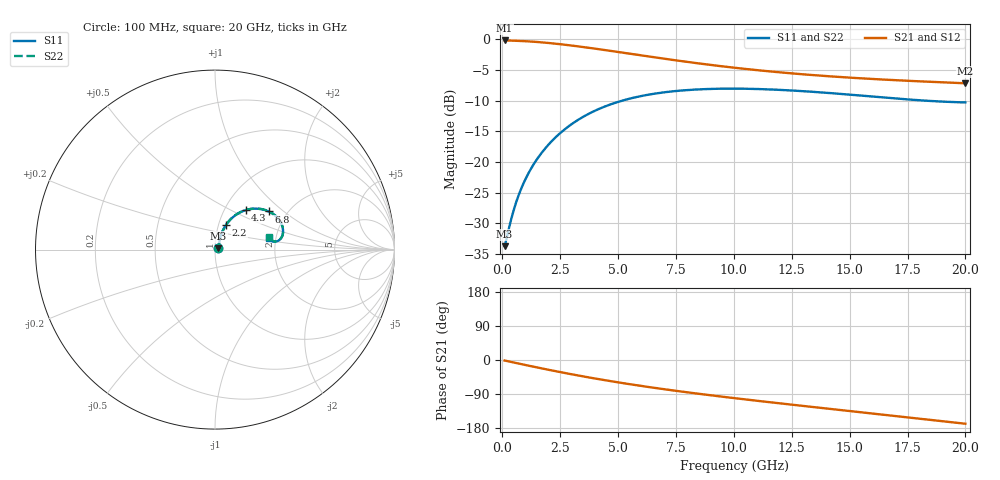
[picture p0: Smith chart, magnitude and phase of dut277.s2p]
! Touchstone file exported from HFSS 2024.1.0
!  File:  C:/UserFiles/LocalFiles/RDL_TSV_Batchsim/temp_RDL_TSV_277_1779463379.aedt
!  Generated:  11:38:42 PM May 22, 2026
!  Design:  RDL_TSV
!  Project:  temp_RDL_TSV_277_1779463379
!  Setup:  Setup1
!  Solution:  Sweep
! Variables:
!  dtsv = 5.56um
!  hbump = 3um
!  htsv = 56.34um
!  ldown = 196.84um
!  lrdl = 502.4um
!  p = 40
!  p1 = 42.22um
!  rhole = 10um
!  subl = 2600.12um
!  t = 450um
!  tdown = 2.2um
!  trdl = 4.71um
!  viad = 10um
!  wdown = 10.71um
!  wrdl = 16.09um
!  xbump = 18um
# GHz S MA R 50.000000
! Terminal data exported
! Port[1] = TM1_1_T1
! Port[2] = TM1_4_T1
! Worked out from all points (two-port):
!   200 points, 100 MHz to 20 GHz, reference 50 ohm
!   highest |S21| = -0.17 dB at 100 MHz (marker M1); lowest = -7.1 dB at 20 GHz (marker M2)
!   |S21| within 3 dB of the highest: start of sweep to 7.036 GHz
!   lowest |S11| = -33.7 dB at 100 MHz (marker M3), VSWR 1.04, Z = 52 + j0.75 ohm
!   |S11| at or under -10 dB: start of sweep to 5.163 GHz; 18.35 GHz to end of sweep
!   |S22| runs from -33.7 to -8.0 dB; largest |S21 - S12| = 9.2e-15
!   S11 on the Smith chart (normalised r, x): 100 MHz: 1.04, +0.02; 2.2 GHz: 1.09, +0.31; 4.3 GHz: 1.25, +0.60; 6.8 GHz: 1.61, +0.79; 20 GHz: 1.83, +0.27
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0.1  0.02065 20.5  0.9806 -1.4  0.9806 -1.4  0.02065 20.5
! Gamma 0 0 0 0
! Port Impedance 50 0 50 0
0.4  0.03517 51.8  0.9777 -5.4  0.9777 -5.4  0.03517 51.8
0.5  0.04105 56.3  0.9763 -6.7  0.9763 -6.7  0.04105 56.3
0.7  0.05334 61.9  0.9732 -9.3  0.9732 -9.3  0.05333 61.9
0.9  0.06608 65.0  0.9692 -11.9  0.9692 -11.9  0.06608 65.0
1.2  0.08572 67.1  0.962 -15.8  0.962 -15.8  0.08572 67.2
1.5  0.1057 67.6  0.9531 -19.6  0.9531 -19.6  0.1057 67.7
1.8  0.1258 67.2  0.9428 -23.4  0.9428 -23.4  0.1258 67.3
2.2  0.1525 65.8  0.9272 -28.3  0.9272 -28.3  0.1526 65.9
2.8  0.1916 62.6  0.9006 -35.4  0.9006 -35.4  0.1918 62.7
3.5  0.2344 57.9  0.8665 -43.4  0.8665 -43.4  0.2346 58.1
4.3  0.2776 52.2  0.8257 -51.9  0.8257 -51.9  0.278 52.4
5.5  0.329 43.8  0.7651 -63.8  0.7651 -63.8  0.3296 43.9
6.8  0.3665 35.4  0.7045 -75.5  0.7045 -75.5  0.3673 35.6
8.4  0.3908 26.7  0.6404 -88.5  0.6404 -88.5  0.3918 26.8
10.1  0.3969 19.3  0.5857 -101.2  0.5857 -101.2  0.3981 19.4
11.7  0.3901 13.9  0.5453 -112.4  0.5453 -112.4  0.3913 14.1
13.4  0.3742 10.0  0.5122 -123.9  0.5122 -123.9  0.3754 10.1
15  0.3548 7.9  0.4881 -134.6  0.4881 -134.6  0.3561 8.0
16.7  0.3335 7.6  0.4681 -145.9  0.4681 -145.9  0.3347 7.8
18.4  0.3158 9.4  0.452 -157.3  0.452 -157.3  0.317 9.5
20  0.3066 12.6  0.4391 -168.2  0.4391 -168.2  0.3078 12.7
